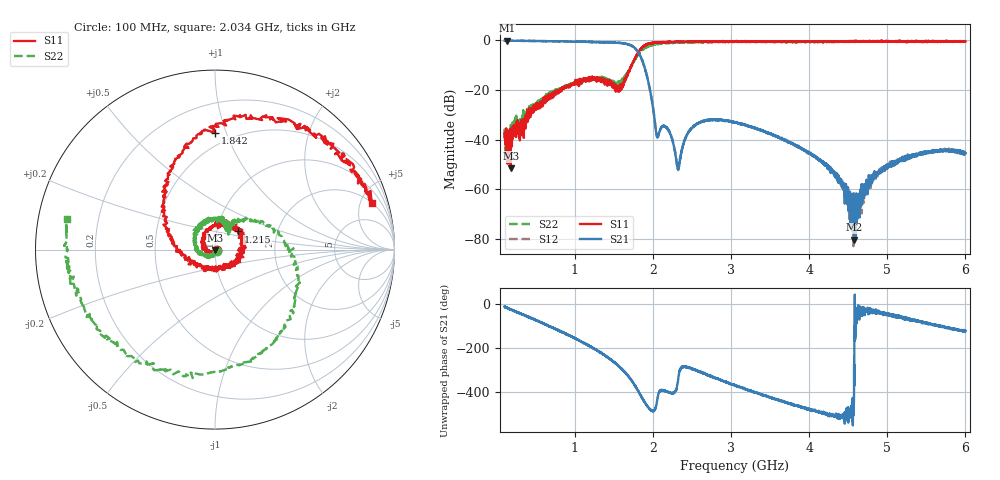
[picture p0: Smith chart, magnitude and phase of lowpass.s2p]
#  HZ  S  DB  R  50.0
! Rohde & Schwarz ZVL6 2Ports - Version 3.32 - 1303.6509k06 SN: 102097
! Date: 2024-06-28 18:25:36
! Data & Calibration Information:
! Trc1:S11(TOSM) Trc3:S21(TOSM) Trc2:S12(TOSM) Trc4:S22(TOSM)
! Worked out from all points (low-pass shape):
!   4001 points, 100 MHz to 6 GHz, reference 50 ohm
!   highest |S21| = -0.09 dB at 132.4 MHz (marker M1); lowest = -80.2 dB at 4.577 GHz (marker M2)
!   |S21| within 3 dB of the highest: start of sweep to 1.768 GHz
!   lowest |S11| = -51.5 dB at 178.2 MHz (marker M3), VSWR 1.01, Z = 50 - j0.265 ohm
!   |S11| at or under -10 dB: start of sweep to 1.722 GHz; 1.722919 GHz to 1.726508 GHz (3.589 MHz wide, 0.208 % of centre)
!   |S22| runs from -44.8 to -0.2 dB; largest |S21 - S12| = 0.083
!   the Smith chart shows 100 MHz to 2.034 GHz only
!   S11 on the Smith chart (normalised r, x): 100 MHz: 1.02, -0.00; 1.215 GHz: 1.27, +0.26; 1.842 GHz: 0.40, +0.91; 2.034 GHz: 2.04, +6.21
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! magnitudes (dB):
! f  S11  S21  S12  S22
! 100 MHz  -38.8  -0.1  -0.1  -36.9
! 132.4 MHz  -37.7  -0.1  -0.1  -40.9
! 178.2 MHz  -51.5  -0.1  -0.1  -40.2
! 440.7 MHz  -27.2  -0.2  -0.2  -27.4
! 1.084 GHz  -17.4  -0.5  -0.5  -16.7
! 1.215 GHz  -15.7  -0.6  -0.6  -15.8
! 1.576 GHz  -18.6  -1.0  -1.0  -17.0
! 1.842 GHz  -3.7  -6.7  -6.7  -4.3
! 1.944 GHz  -1.3  -17.1  -17.4  -2.3
! 2.034 GHz  -0.8  -35.3  -35.5  -1.5
! 2.068 GHz  -0.8  -38.3  -38.3  -1.3
! 2.19 GHz  -0.6  -35.7  -35.7  -1.0
! 2.324 GHz  -0.6  -51.6  -51.7  -0.7
! 2.429 GHz  -0.5  -38.4  -38.4  -0.7
! 2.551 GHz  -0.5  -33.9  -33.9  -0.6
! 3.05 GHz  -0.5  -33.0  -33.0  -0.5
! 4.034 GHz  -0.5  -46.1  -45.9  -0.5
! 4.379 GHz  -0.5  -55.2  -55.6  -0.4
! 4.577 GHz  -0.1  -80.2  -62.6  -0.5
! 4.718 GHz  -0.3  -58.9  -59.2  -0.5
! 5.018 GHz  -0.4  -49.7  -50.2  -0.5
! 6 GHz  -0.4  -45.3  -45.3  -0.4
